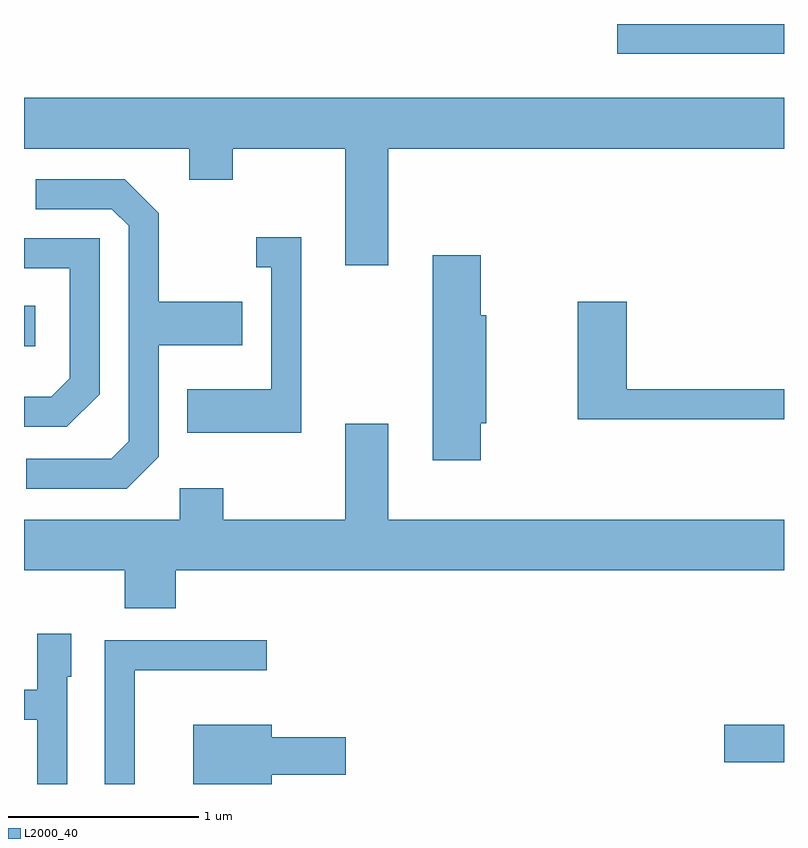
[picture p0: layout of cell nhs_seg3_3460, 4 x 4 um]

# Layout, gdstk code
import gdstk
lib = gdstk.Library(unit=1e-6, precision=1e-09)
def R(c, l, rs):  # rectangles x0, y0, x1, y1
    for r in rs: c.add(gdstk.rectangle(r[:2], r[2:], *l))
def P(c, l, *ps):  # polygons
    for p in ps: c.add(gdstk.Polygon(p, *l))
L2000_40 = (2000, 40)

nhs_seg3_3460 = lib.new_cell('nhs_seg3_3460')
R(nhs_seg3_3460, L2000_40, [(289.296,1236.006,289.611,1236.204), (285.611,1238.196,285.669,1238.409), (288.733,1239.736,289.611,1239.892)])
P(nhs_seg3_3460, L2000_40, [(287.529,1239.236),(289.611,1239.236),(289.611,1239.504),(285.611,1239.504),(285.611,1239.236),(286.481,1239.236),(286.481,1239.071),(286.709,1239.071),(286.709,1239.236),(287.301,1239.236),(287.301,1238.621),(287.529,1238.621)],
  [(286.319,1237.614),(286.319,1238.201),(286.759,1238.201),(286.759,1238.429),(286.319,1238.429),(286.319,1238.897),(286.142,1239.074),(285.673,1239.074),(285.673,1238.916),(286.074,1238.916),(286.161,1238.829),(286.161,1237.697),(286.069,1237.604),(285.623,1237.604),(285.623,1237.446),(286.152,1237.446)],
  [(287.069,1238.769),(286.833,1238.769),(286.833,1238.611),(286.911,1238.611),(286.911,1237.969),(286.471,1237.969),(286.471,1237.741),(287.069,1237.741)],
  [(286.009,1237.944),(286.009,1238.764),(285.611,1238.764),(285.611,1238.606),(285.851,1238.606),(285.851,1238.027),(285.754,1237.929),(285.611,1237.929),(285.611,1237.771),(285.837,1237.771)],
  [(288.014,1237.791),(288.044,1237.791),(288.044,1238.359),(288.014,1238.359),(288.014,1238.674),(287.761,1238.674),(287.761,1237.596),(288.014,1237.596)],
  [(289.611,1237.969),(288.784,1237.969),(288.784,1238.429),(288.526,1238.429),(288.526,1237.811),(289.611,1237.811)],
  [(286.409,1237.016),(289.611,1237.016),(289.611,1237.284),(287.529,1237.284),(287.529,1237.789),(287.301,1237.789),(287.301,1237.284),(286.659,1237.284),(286.659,1237.449),(286.431,1237.449),(286.431,1237.284),(285.611,1237.284),(285.611,1237.016),(286.141,1237.016),(286.141,1236.816),(286.409,1236.816)],
  [(285.839,1236.456),(285.859,1236.456),(285.859,1236.684),(285.681,1236.684),(285.681,1236.389),(285.611,1236.389),(285.611,1236.231),(285.681,1236.231),(285.681,1235.892),(285.839,1235.892)],
  [(286.194,1236.491),(286.888,1236.491),(286.888,1236.649),(286.036,1236.649),(286.036,1235.892),(286.194,1235.892)],
  [(286.914,1235.941),(287.304,1235.941),(287.304,1236.139),(286.914,1236.139),(286.914,1236.204),(286.501,1236.204),(286.501,1235.892),(286.914,1235.892)])

lib.write_gds('nhs_seg3_3460.gds')
